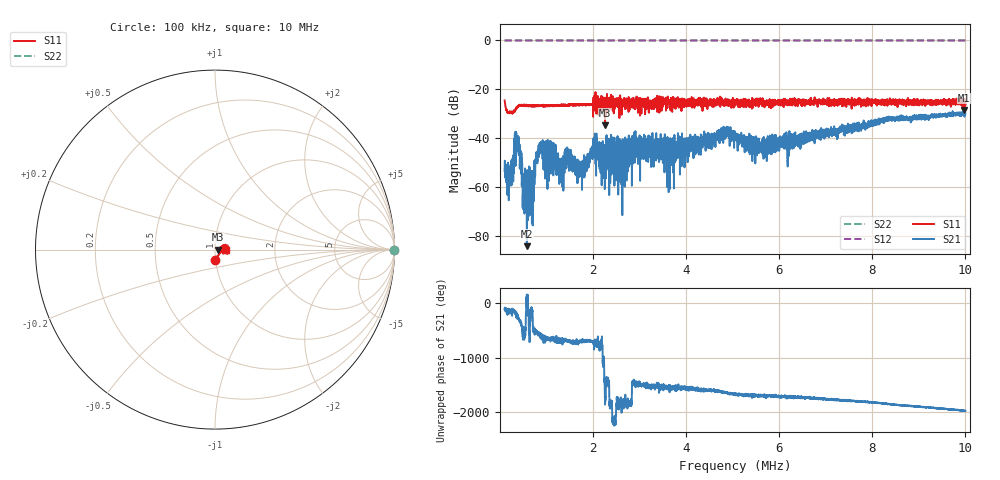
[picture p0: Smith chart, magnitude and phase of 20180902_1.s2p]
! Anritsu VNA Master:  Model: MS2026C/19
! SN:  1815009
! /card0/usr/20180902_1.s2p
! Existing Calibration Information:
! TYPE:  Current Settings,  Active Cal Settings
! TIME:  09/02/2018 12:26:19 PM,  09/02/2018 11:58:48 AM
! INTERNAL TEMP:  52.0 C,  48.8 C
! # POINTS:  4001,  4001
! START FREQ:  100.000 kHz,  100.000 kHz
! STOP FREQ:  10.000 MHz,  10.000 MHz
! SOURCE POWER:  Low,  Low
! IFBW:  500 Hz,  500 Hz
! AVG FACTOR:  1 ,  1
! REF PLANE 1:  0 mm,  0 mm
! REF PLANE 2:  0 mm,  0 mm
! CAL TYPE:  1P2P S11,S21,  1P2P S11,S21
! CAL METHOD:  SOLT,  SOLT
! CAL LINE TYPE:  Coax,  Coax
! DUT PORT 1:  N-Conn(M),  N-Conn(M)
! DUT PORT 2:  N-Conn(M),  N-Conn(M)
! CAL STATUS:  OK: Accuracy High,  --
# GHZ S RI R 50.0
! FREQ.GHZ  S11RE  S11IM  S21RE  S21IM  S12RE  S12IM  S22RE  S22IM
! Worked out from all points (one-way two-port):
!   4001 points, 100 kHz to 10 MHz, reference 50 ohm
!   highest |S21| = -28.46 dB at 9.973 MHz (marker M1); lowest = -84.2 dB at 577.7 kHz (marker M2)
!   lowest |S11| = -34.8 dB at 2.258 MHz (marker M3), VSWR 1.04, Z = 51.9 + j0.0026 ohm
!   |S11| at or under -10 dB: start of sweep to end of sweep
!   |S22| runs from 0.0 to 0.0 dB; largest |S21 - S12| = 1
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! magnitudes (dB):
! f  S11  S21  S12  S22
! 100 kHz  -24.6  -53.4  0.0  0.0
! 223.8 kHz  -29.4  -51.8  0.0  0.0
! 379.7 kHz  -26.8  -41.1  0.0  0.0
! 528.2 kHz  -26.7  -55.2  0.0  0.0
! 577.7 kHz  -26.3  -84.2  0.0  0.0
! 684.1 kHz  -27.0  -62.2  0.0  0.0
! 783.1 kHz  -26.9  -48.2  0.0  0.0
! 879.6 kHz  -26.8  -41.7  0.0  0.0
! 1.105 MHz  -26.5  -47.9  0.0  0.0
! 1.318 MHz  -26.3  -49.7  0.0  0.0
! 1.449 MHz  -26.6  -48.5  0.0  0.0
! 1.751 MHz  -26.3  -55.3  0.0  0.0
! 2.048 MHz  -23.8  -38.9  0.0  0.0
! 2.258 MHz  -34.8  -46.8  0.0  0.0
! 2.637 MHz  -25.3  -40.4  0.0  0.0
! 3.402 MHz  -25.1  -41.0  0.0  0.0
! 5.05 MHz  -25.0  -40.1  0.0  0.0
! 5.614 MHz  -24.1  -42.6  0.0  0.0
! 6.701 MHz  -25.2  -37.9  0.0  0.0
! 8.352 MHz  -25.2  -32.2  0.0  0.0
! 9.973 MHz  -26.5  -28.5  0.0  0.0
! 10 MHz  -24.5  -29.9  0.0  0.0
